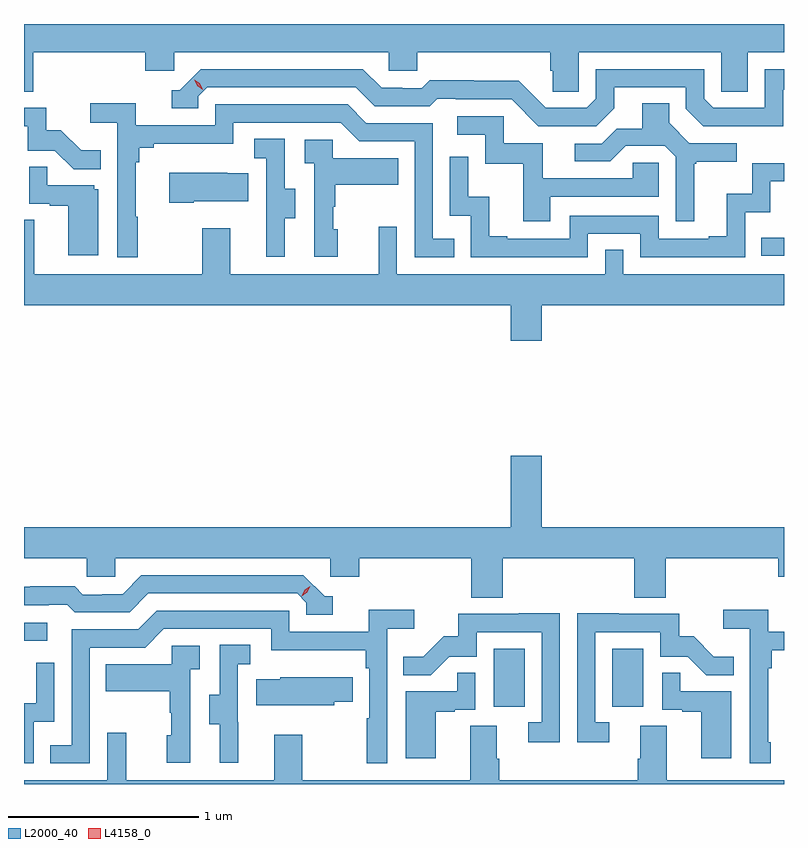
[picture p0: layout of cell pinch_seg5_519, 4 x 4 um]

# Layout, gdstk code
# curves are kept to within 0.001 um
import gdstk
lib = gdstk.Library(unit=1e-6, precision=1e-09)
def R(c, l, rs):  # rectangles x0, y0, x1, y1
    for r in rs: c.add(gdstk.rectangle(r[:2], r[2:], *l))
def P(c, l, *ps):  # polygons
    for p in ps: c.add(gdstk.Polygon(p, *l))
L2000_40 = (2000, 40)
L4158_0 = (4158, 0)

pinch_seg5_519 = lib.new_cell('pinch_seg5_519')
R(pinch_seg5_519, L2000_40, [(932.15,833.334,932.314,833.641), (932.774,833.334,932.938,833.641), (929.678,833.682,929.8,833.778), (933.559,835.707,933.678,835.804)])
P(pinch_seg5_519, L2000_40, [(929.678,836.572),(929.726,836.572),(929.726,836.78),(930.317,836.78),(930.317,836.682),(930.468,836.682),(930.468,836.78),(931.599,836.78),(931.599,836.682),(931.749,836.682),(931.749,836.78),(932.447,836.78),(932.447,836.682),(932.461,836.682),(932.461,836.572),(932.598,836.572),(932.598,836.78),(933.348,836.78),(933.348,836.572),(933.487,836.572),(933.487,836.78),(933.678,836.78),(933.678,836.928),(929.678,836.928)],
  [(933.673,836.583),(933.678,836.583),(933.678,836.691),(933.576,836.691),(933.576,836.487),(933.306,836.487),(933.258,836.535),(933.258,836.691),(932.688,836.691),(932.688,836.535),(932.64,836.487),(932.424,836.487),(932.282,836.629),(932.046,836.629),(932.046,836.632),(931.813,836.632),(931.771,836.589),(931.668,836.589),(931.668,836.592),(931.561,836.592),(931.462,836.691),(930.609,836.691),(930.498,836.58),(930.455,836.58),(930.455,836.484),(930.594,836.484),(930.594,836.547),(930.642,836.595),(931.425,836.595),(931.524,836.496),(931.813,836.496),(931.852,836.535),(931.951,836.535),(931.951,836.532),(932.244,836.532),(932.385,836.391),(932.691,836.391),(932.785,836.485),(932.785,836.595),(933.162,836.595),(933.162,836.481),(933.252,836.391),(933.673,836.39)],
  [(933.205,836.193),(933.217,836.193),(933.217,836.204),(933.43,836.204),(933.43,836.301),(933.18,836.301),(933.073,836.408),(933.073,836.51),(932.933,836.51),(932.933,836.378),(932.798,836.378),(932.718,836.298),(932.577,836.298),(932.577,836.205),(932.764,836.205),(932.845,836.286),(933.051,836.286),(933.108,836.229),(933.108,835.89),(933.205,835.89)],
  [(930.277,835.913),(930.265,835.913),(930.265,836.201),(930.284,836.201),(930.284,836.278),(930.361,836.278),(930.361,836.297),(930.78,836.297),(930.78,836.409),(931.344,836.409),(931.443,836.31),(931.734,836.31),(931.734,835.701),(931.943,835.701),(931.943,835.797),(931.83,835.797),(931.83,836.406),(931.48,836.406),(931.381,836.505),(930.684,836.505),(930.684,836.394),(930.266,836.394),(930.266,836.51),(930.027,836.51),(930.027,836.408),(930.168,836.408),(930.168,835.701),(930.277,835.701)],
  [(930.083,836.263),(929.979,836.263),(929.872,836.37),(929.796,836.37),(929.796,836.487),(929.678,836.487),(929.678,836.391),(929.697,836.391),(929.697,836.262),(929.841,836.262),(929.939,836.164),(930.083,836.164)],
  [(932.449,836.019),(933.018,836.019),(933.018,836.199),(932.881,836.199),(932.881,836.115),(932.407,836.115),(932.407,836.301),(932.202,836.301),(932.202,836.442),(931.959,836.442),(931.959,836.346),(932.106,836.346),(932.106,836.193),(932.305,836.193),(932.305,835.89),(932.449,835.89)],
  [(931.051,835.906),(931.105,835.906),(931.105,836.061),(931.05,836.061),(931.05,836.324),(930.891,836.324),(930.891,836.221),(930.954,836.221),(930.954,835.917),(930.953,835.917),(930.953,835.704),(931.051,835.704)],
  [(931.33,835.848),(931.305,835.848),(931.305,835.967),(931.315,835.967),(931.315,836.081),(931.649,836.081),(931.649,836.221),(931.302,836.221),(931.302,836.319),(931.155,836.319),(931.155,836.195),(931.206,836.195),(931.206,835.704),(931.33,835.704)],
  [(932.646,835.824),(932.922,835.824),(932.922,835.701),(933.474,835.701),(933.474,835.937),(933.606,835.937),(933.606,836.1),(933.678,836.1),(933.678,836.196),(933.51,836.196),(933.51,836.035),(933.377,836.035),(933.377,835.81),(933.281,835.81),(933.281,835.797),(933.018,835.797),(933.018,835.92),(932.55,835.92),(932.55,835.797),(932.221,835.797),(932.221,835.81),(932.126,835.81),(932.126,836.018),(932.016,836.018),(932.016,836.23),(931.92,836.23),(931.92,835.92),(932.028,835.92),(932.028,835.701),(932.646,835.701)],
  [(930.07,836.058),(930.048,836.058),(930.048,836.079),(929.801,836.079),(929.801,836.177),(929.706,836.177),(929.706,835.983),(929.813,835.983),(929.813,835.971),(929.912,835.971),(929.912,835.71),(930.07,835.71)],
  [(930.571,835.994),(930.857,835.994),(930.857,836.143),(930.749,836.143),(930.749,836.146),(930.443,836.146),(930.443,835.987),(930.571,835.987)],
  [(932.404,835.448),(933.678,835.448),(933.678,835.612),(932.832,835.612),(932.832,835.739),(932.736,835.739),(932.736,835.612),(931.641,835.612),(931.641,835.861),(931.544,835.861),(931.544,835.612),(930.763,835.612),(930.763,835.852),(930.616,835.852),(930.616,835.612),(929.731,835.612),(929.731,835.898),(929.678,835.898),(929.678,835.448),(932.24,835.448),(932.24,835.26),(932.404,835.26)],
  [(932.198,834.116),(932.891,834.116),(932.891,833.908),(933.056,833.908),(933.056,834.116),(933.647,834.116),(933.647,834.018),(933.678,834.018),(933.678,834.28),(932.404,834.28),(932.404,834.655),(932.24,834.655),(932.24,834.28),(929.678,834.28),(929.678,834.116),(930.009,834.116),(930.009,834.018),(930.159,834.018),(930.159,834.116),(931.29,834.116),(931.29,834.018),(931.442,834.018),(931.442,834.116),(932.033,834.116),(932.033,833.908),(932.198,833.908)],
  [(931.303,833.916),(931.26,833.916),(931.149,834.027),(930.296,834.027),(930.197,833.928),(930.09,833.928),(930.09,833.925),(929.987,833.925),(929.945,833.968),(929.712,833.968),(929.712,833.965),(929.678,833.965),(929.678,833.868),(929.807,833.868),(929.807,833.871),(929.906,833.871),(929.945,833.832),(930.234,833.832),(930.333,833.931),(931.116,833.931),(931.164,833.883),(931.164,833.82),(931.303,833.82)],
  [(933.607,833.149),(933.594,833.149),(933.594,833.537),(933.614,833.537),(933.614,833.633),(933.678,833.633),(933.678,833.73),(933.596,833.73),(933.596,833.846),(933.357,833.846),(933.357,833.744),(933.498,833.744),(933.498,833.037),(933.607,833.037)],
  [(930.024,833.646),(930.315,833.646),(930.414,833.745),(930.978,833.745),(930.978,833.633),(931.476,833.633),(931.476,833.537),(931.494,833.537),(931.494,833.273),(931.482,833.273),(931.482,833.037),(931.59,833.037),(931.59,833.744),(931.732,833.744),(931.732,833.846),(931.493,833.846),(931.493,833.73),(931.074,833.73),(931.074,833.841),(930.377,833.841),(930.278,833.742),(929.928,833.742),(929.928,833.133),(929.815,833.133),(929.815,833.037),(930.024,833.037)],
  [(932.758,833.253),(932.685,833.253),(932.685,833.727),(933.027,833.727),(933.027,833.598),(933.171,833.598),(933.269,833.5),(933.413,833.5),(933.413,833.599),(933.309,833.599),(933.202,833.706),(933.126,833.706),(933.126,833.823),(932.807,833.823),(932.807,833.828),(932.589,833.828),(932.589,833.148),(932.758,833.148)],
  [(932.499,833.828),(932.281,833.828),(932.281,833.823),(931.963,833.823),(931.963,833.706),(931.886,833.706),(931.779,833.599),(931.675,833.599),(931.675,833.5),(931.819,833.5),(931.917,833.598),(932.061,833.598),(932.061,833.727),(932.403,833.727),(932.403,833.253),(932.331,833.253),(932.331,833.148),(932.499,833.148)],
  [(930.806,833.253),(930.804,833.253),(930.804,833.557),(930.868,833.557),(930.868,833.66),(930.708,833.66),(930.708,833.397),(930.653,833.397),(930.653,833.242),(930.707,833.242),(930.707,833.04),(930.806,833.04)],
  [(930.552,833.531),(930.604,833.531),(930.604,833.655),(930.456,833.655),(930.456,833.557),(930.109,833.557),(930.109,833.417),(930.444,833.417),(930.444,833.303),(930.454,833.303),(930.454,833.184),(930.428,833.184),(930.428,833.04),(930.552,833.04)],
  [(929.73,833.256),(929.838,833.256),(929.838,833.566),(929.742,833.566),(929.742,833.354),(929.678,833.354),(929.678,833.037),(929.73,833.037)],
  [(933.4,833.415),(933.131,833.415),(933.131,833.513),(933.036,833.513),(933.036,833.319),(933.143,833.319),(933.143,833.307),(933.242,833.307),(933.242,833.064),(933.4,833.064)],
  [(931.846,833.307),(931.946,833.307),(931.946,833.319),(932.052,833.319),(932.052,833.513),(931.957,833.513),(931.957,833.415),(931.688,833.415),(931.688,833.064),(931.846,833.064)],
  [(931.311,833.362),(931.409,833.362),(931.409,833.491),(931.026,833.491),(931.026,833.479),(930.901,833.479),(930.901,833.342),(931.311,833.342)],
  [(933.678,832.948),(933.061,832.948),(933.061,833.234),(932.921,833.234),(932.921,833.06),(932.909,833.06),(932.909,832.948),(932.18,832.948),(932.18,833.06),(932.167,833.06),(932.167,833.234),(932.027,833.234),(932.027,832.948),(931.143,832.948),(931.143,833.188),(930.995,833.188),(930.995,832.948),(930.215,832.948),(930.215,833.197),(930.117,833.197),(930.117,832.948),(929.678,832.948),(929.678,832.928),(933.678,832.928)])
P(pinch_seg5_519, L4158_0, [(930.619,836.582),(930.589,836.602),(930.573,836.634),(930.573,836.634),(930.573,836.634),(930.604,836.615),(930.619,836.583),(930.619,836.582)],
  [(931.14,833.917),(931.14,833.918),(931.155,833.95),(931.185,833.97),(931.185,833.97),(931.185,833.97),(931.17,833.937),(931.14,833.917)])

lib.write_gds('pinch_seg5_519.gds')
